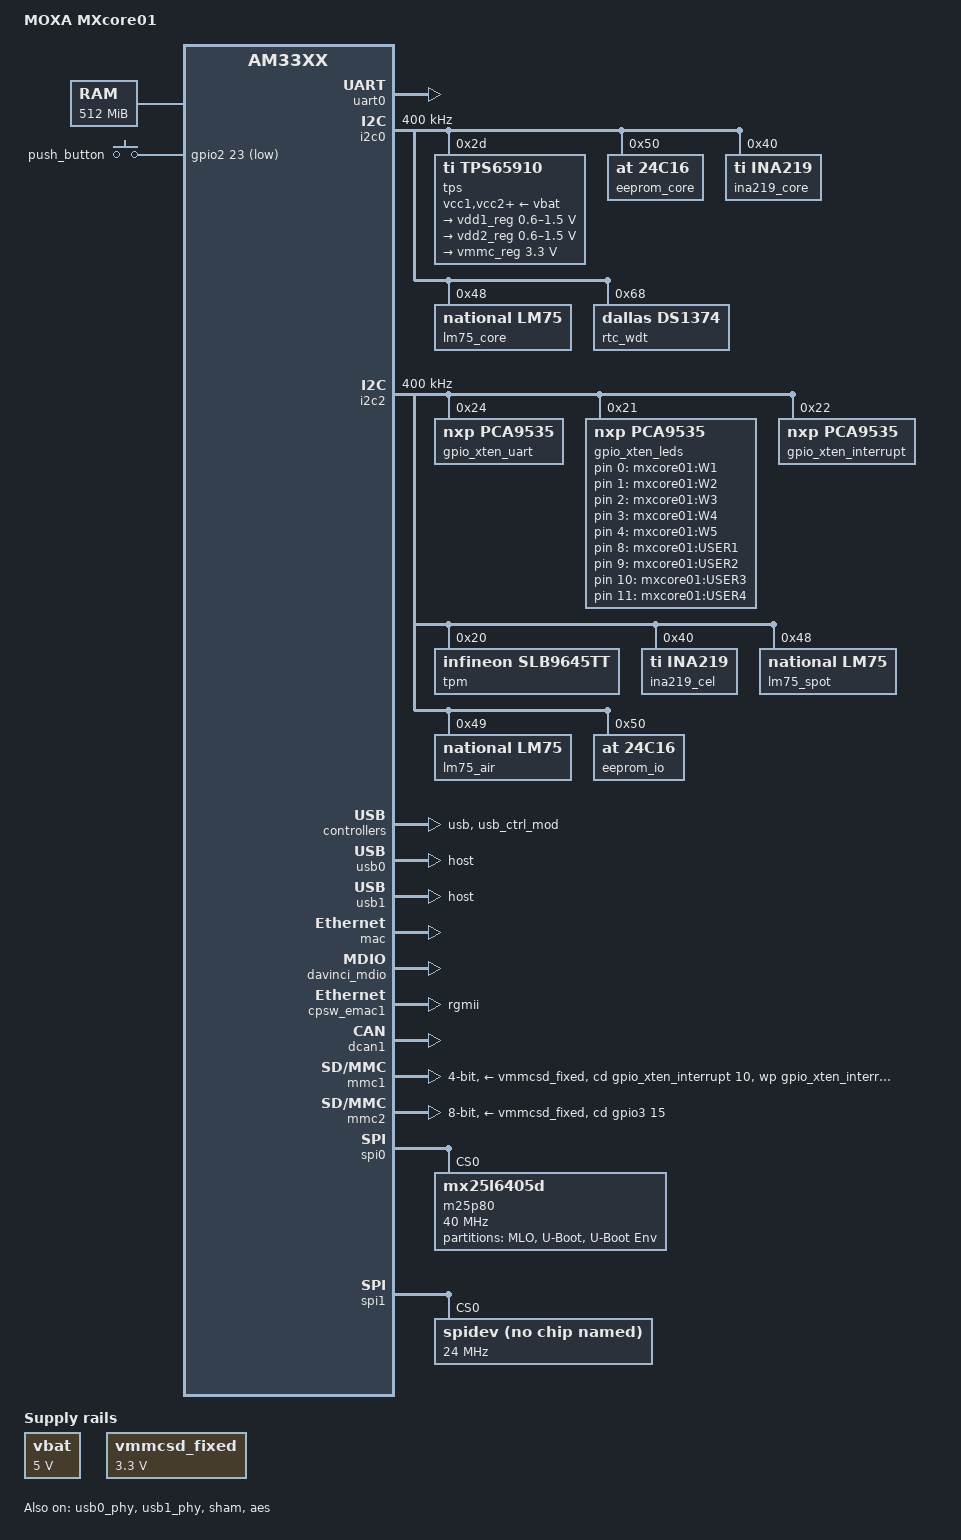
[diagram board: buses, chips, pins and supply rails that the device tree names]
/*
 * Copyright (C) 2015 MOXA Inc. - http://www.moxa.com/
 *
 * This program is free software; you can redistribute it and/or modify
 * it under the terms of the GNU General Public License version 2 as
 * published by the Free Software Foundation.
 */

/dts-v1/;

#include "am33xx.dtsi"
#include <dt-bindings/pwm/pwm.h>
#include <dt-bindings/interrupt-controller/irq.h>

/ {
	model = "MOXA MXcore01";
	compatible = "ti,moxa-mxcore01", "ti,am33xx";

	cpus {
		cpu@0 {
			cpu0-supply = <&vdd1_reg>;
		};
	};

	memory {
		device_type = "memory";
		reg = <0x80000000 0x20000000>; /* 512 MB */
	};

	vbat: fixedregulator@0 {
		compatible = "regulator-fixed";
		regulator-name = "vbat";
		regulator-min-microvolt = <5000000>;
		regulator-max-microvolt = <5000000>;
		regulator-boot-on;
	};

	/* Power supply provides a fixed 3.3V @3A */
	vmmcsd_fixed: fixedregulator@1 {
	      compatible = "regulator-fixed";
	      regulator-name = "vmmcsd_fixed";
	      regulator-min-microvolt = <3300000>;
	      regulator-max-microvolt = <3300000>;
	      regulator-boot-on;
	};
	
	leds {
		compatible = "gpio-leds";
		led@1 {
			label = "mxcore01:W1";
			gpios = <&gpio_xten_leds 0 0>;
			default-state = "off";
		};

		led@2 {
			label = "mxcore01:W2";
			gpios = <&gpio_xten_leds 1 0>;
			default-state = "off";
		};

		led@3 {
			label = "mxcore01:W3";
			gpios = <&gpio_xten_leds 2 0>;
			default-state = "off";
		};

		led@4 {
			label = "mxcore01:W4";
			gpios = <&gpio_xten_leds 3 0>;
			default-state = "off";
		};
		led@5 {
			label = "mxcore01:W5";
			gpios = <&gpio_xten_leds 4 0>;
			default-state = "off";
		};
		led@6 {
			label = "mxcore01:USER1";
			gpios = <&gpio_xten_leds 8 0>;
			default-state = "off";
		};
		led@7 {
			label = "mxcore01:USER2";
			gpios = <&gpio_xten_leds 9 0>;
			default-state = "off";
		};
		led@8 {
			label = "mxcore01:USER3";
			gpios = <&gpio_xten_leds 10 0>;
			default-state = "off";
		};
		led@9 {
			label = "mxcore01:USER4";
			gpios = <&gpio_xten_leds 11 0>;
			default-state = "off";
		};
	};

	buttons: push_button {
		compatible = "gpio-keys";
	};
};

&am33xx_pinmux {
	pinctrl-names = "default";
	
	push_button_pins: pinmux_push_button {
		pinctrl-single,pins = <
			0x0e4 (PIN_INPUT_PULLUP | MUX_MODE7)  /* lcd_hsync.gpio2_23 */
		>;
	};

	i2c0_pins: pinmux_i2c0_pins {
		pinctrl-single,pins = <
			0x188 (PIN_INPUT_PULLUP | MUX_MODE0)	/* i2c0_sda.i2c0_sda */
			0x18c (PIN_INPUT_PULLUP | MUX_MODE0)	/* i2c0_scl.i2c0_scl */
		>;
	};

	i2c2_pins: pinmux_i2c2_pins {
		pinctrl-single,pins = <
			0x178 (PIN_INPUT_PULLUP | MUX_MODE3)	/* uart1_ctsn.i2c2_sda */
			0x17c (PIN_INPUT_PULLUP | MUX_MODE3)	/* uart1_rtsn.i2c2_scl */
		>;
	};

	uart0_pins: pinmux_uart0_pins {
		pinctrl-single,pins = <
			0x170 (PIN_INPUT_PULLUP | MUX_MODE0)	/* uart0_rxd.uart0_rxd */
			0x174 (PIN_OUTPUT_PULLDOWN | MUX_MODE0)		/* uart0_txd.uart0_txd */
		>;
	};

	dcan1_default: dcan1_default_pins {
		pinctrl-single,pins = <
			0x168 (PIN_OUTPUT_PULLDOWN | MUX_MODE2) /*  */
			0x16c (PIN_INPUT_PULLUP | MUX_MODE2) 	/*  */
		>;
	};	

	tps_pins: pinmux_tps_pins {
		pinctrl-single,pins = <
			0x1a4 (PIN_INPUT | MUX_MODE7) /* MCASP0_FSR.gpio3_19 */
		>;
	};

	cpsw_default: cpsw_default {
		pinctrl-single,pins = <
			/* slave 1 */
			0x108 (PIN_INPUT_PULLUP | MUX_MODE0) 	/* mii1_col.gmii1_col */
			0x10c (PIN_INPUT_PULLUP | MUX_MODE0)    /* mii1_crs.gmii1_col */
			0x110 (PIN_INPUT_PULLUP | MUX_MODE0) 	/* mii1_rx_er.gmii1_rxd0 */
			0x114 (PIN_OUTPUT_PULLDOWN | MUX_MODE0) /*  */
			0x118 (PIN_INPUT_PULLUP | MUX_MODE0) 	/*  */
			0x11c (PIN_OUTPUT_PULLDOWN | MUX_MODE0) /*  */
			0x120 (PIN_OUTPUT_PULLDOWN | MUX_MODE0) /*  */
			0x124 (PIN_OUTPUT_PULLDOWN | MUX_MODE0) /*  */
			0x128 (PIN_OUTPUT_PULLDOWN | MUX_MODE0) /*  */
			0x12c (PIN_INPUT_PULLUP | MUX_MODE0)    /*  */
			0x130 (PIN_INPUT_PULLUP | MUX_MODE0)    /*  */
			0x134 (PIN_INPUT_PULLUP | MUX_MODE0)    /*  */
			0x138 (PIN_INPUT_PULLUP | MUX_MODE0)    /*  */
			0x13c (PIN_INPUT_PULLUP | MUX_MODE0)    /*  */
			0x140 (PIN_INPUT_PULLUP | MUX_MODE0)    /*  */
			0x144 (PIN_OUTPUT_PULLDOWN | MUX_MODE0) /*  */
			
			/* slave 2 */
			0x040 (PIN_OUTPUT_PULLDOWN | MUX_MODE2) /* gpmc_a0.rgmii2_tctl */
			0x044 (PIN_INPUT_PULLUP | MUX_MODE2)    /* gpmc_a1.rgmii2_rctl */
			0x048 (PIN_OUTPUT_PULLDOWN | MUX_MODE2) /* gpmc_a2.rgmii2_td3 */
			0x04c (PIN_OUTPUT_PULLDOWN | MUX_MODE2) /* gpmc_a3.rgmii2_td2 */
			0x050 (PIN_OUTPUT_PULLDOWN | MUX_MODE2) /* gpmc_a4.rgmii2_td1 */
			0x054 (PIN_OUTPUT_PULLDOWN | MUX_MODE2) /* gpmc_a5.rgmii2_td0 */
			0x058 (PIN_INPUT_PULLUP | MUX_MODE2)    /* gpmc_a6.rgmii2_tclk */
			0x05c (PIN_INPUT_PULLUP | MUX_MODE2)    /* gpmc_a7.rgmii2_rclk */
			0x060 (PIN_INPUT_PULLUP | MUX_MODE2)    /* gpmc_a8.rgmii2_rd3 */
			0x064 (PIN_INPUT_PULLUP | MUX_MODE2)    /* gpmc_a9.rgmii2_rd2 */
			0x068 (PIN_INPUT_PULLUP | MUX_MODE2)    /* gpmc_a10.rgmii2_rd1 */
			0x06c (PIN_INPUT_PULLUP | MUX_MODE2)    /* gpmc_a11.rgmii2_rd0 */
		>;
	};
	
	davinci_mdio_default: davinci_mdio_default {
		pinctrl-single,pins = <
			/* MDIO */
			0x148 (PIN_INPUT_PULLUP | SLEWCTRL_FAST | MUX_MODE0)	/* mdio_data.mdio_data */
			0x14c (PIN_OUTPUT_PULLUP | MUX_MODE0)			/* mdio_clk.mdio_clk */
		>;
	};

	mmc0_pins_default: pinmux_mmc0_pins {
		pinctrl-single,pins = <
			0xf0 (PIN_INPUT_PULLUP | MUX_MODE0)	/* mmc0_dat3 */
			0xf4 (PIN_INPUT_PULLUP | MUX_MODE0)	/* mmc0_dat2 */
			0xf8 (PIN_INPUT_PULLUP | MUX_MODE0)	/* mmc0_dat1 */
			0xfc (PIN_INPUT_PULLUP | MUX_MODE0)	/* mmc0_dat0 */
			0x100 (PIN_INPUT_PULLUP | MUX_MODE0)	/* mmc0_clk */
			0x104 (PIN_INPUT_PULLUP | MUX_MODE0)	/* mmc0_cmd */
		>;
	};

	mmc1_pins_default: pinmux_mmc1_pins {
		pinctrl-single,pins = <
			0x80 (PIN_INPUT_PULLUP | MUX_MODE2) /* gpmc_csn1.mmc1_clk */
			0x84 (PIN_INPUT_PULLUP | MUX_MODE2) /* gpmc_csn2.mmc1_cmd */
			0x00 (PIN_INPUT_PULLUP | MUX_MODE1) /* gpmc_ad0.mmc1_dat0 */
			0x04 (PIN_INPUT_PULLUP | MUX_MODE1) /* gpmc_ad1.mmc1_dat1 */
			0x08 (PIN_INPUT_PULLUP | MUX_MODE1) /* gpmc_ad2.mmc1_dat2 */
			0x0c (PIN_INPUT_PULLUP | MUX_MODE1) /* gpmc_ad3.mmc1_dat3 */
		>;
	};

	spi0_pins: pinmux_spi0 {
		pinctrl-single,pins = <
			0x150 (PIN_INPUT_PULLUP | MUX_MODE0) /* spi0_sclk.spi0_sclk */
			0x15C (PIN_INPUT_PULLUP | MUX_MODE0) /* spi0_cs0.spi0_cs0 */
			0x154 (PIN_INPUT_PULLUP | MUX_MODE0) /* spi0_d0.spi0_d0 */
			0x158 (PIN_INPUT_PULLUP | MUX_MODE0) /* spi0_d1.spi0_d1 */
		>;
	};

	spi1_pins: pinmux_spi1 {
		pinctrl-single,pins = <
	                0x190 (PIN_INPUT_PULLUP | MUX_MODE3) /* mcasp0_aclkx.spi1_sclk */
	                0x194 (PIN_INPUT_PULLUP | MUX_MODE3) /* mcasp0_fsx.spi1_d0 */
	                0x198 (PIN_INPUT_PULLUP | MUX_MODE3) /* mcasp0_axr0.spi1_d1 */
	                0x19c (PIN_INPUT_PULLUP | MUX_MODE3) /* mcasp0_ahclkr.spi1_cs0 */
		>;
	};
};

&uart0 {
	pinctrl-names = "default";
	pinctrl-0 = <&uart0_pins>;
	status = "okay";
};

&i2c0 {
	pinctrl-names = "default";
	pinctrl-0 = <&i2c0_pins>;

	status = "okay";
	clock-frequency = <400000>;

	tps: tps@2d {
		compatible = "ti,tps65910";
		reg = <0x2d>;
	};

	eeprom_core: eeprom_core@50 {
		compatible = "at,24c16";
		pagesize = <16>;
		reg = <0x50>;
	};

	ina219_core: ina219_core@40 {
		compatible = "ti,ina219";
		reg = <0x40>;
		shunt-resistor = <200000>;
	};
	
	lm75_core: lm75_core@48 {
		compatible = "national,lm75";
		reg = <0x48>;
	};

	rtc_wdt: rtc_wdt@68 {
		compatible = "dallas,ds1374";
		reg = <0x68>;
	};
};

&i2c2 {
	pinctrl-names = "default";
	pinctrl-0 = <&i2c2_pins>;

	status = "okay";
	clock-frequency = <400000>;
	gpio_xten_uart: gpio_xten@24 {
		compatible = "nxp,pca9535";
		gpio-controller;
		#gpio-cells = <2>;
		reg = <0x24>;
	};

	gpio_xten_leds: gpio_xten@21 {
		compatible = "nxp,pca9535";
		gpio-controller;
		#gpio-cells = <2>;
		reg = <0x21>;
	};

	gpio_xten_interrupt: gpio_xten@22 {
		compatible = "nxp,pca9535";
		gpio-controller;
		#gpio-cells = <2>;
		reg = <0x22>;
	};
	
	tpm: tpm@20 {
		compatible = "infineon,slb9645tt";
		reg = <0x20>;
	};

	ina219_cel: ina219_cel@40 {
		compatible = "ti,ina219";
		reg = <0x40>;
		shunt-resistor = <200000>;
	};
	
	lm75_spot: lm75_spot@48 {
		compatible = "national,lm75";
		reg = <0x48>;
	};

	lm75_air: lm75_air@49 {
		compatible = "national,lm75";
		reg = <0x49>;
	};
	
	eeprom_io: eeprom_io@50 {
		compatible = "at,24c16";
		pagesize = <16>;
		reg = <0x50>;
	};
};

&usb {
	status = "okay";
};

&usb_ctrl_mod {
	status = "okay";
};

&usb0_phy {
	status = "okay";
};

&usb1_phy {
	status = "okay";
};

&usb0 {
	status = "okay";
	dr_mode = "host";
};

&usb1 {
	status = "okay";
	dr_mode = "host";
};

&cppi41dma  {
	status = "okay";
};


#include "tps65910.dtsi"

&tps {
	pinctrl-names = "default";
	pinctrl-0 = <&tps_pins>;

	ti,en-ck32k-xtal;

	vcc1-supply = <&vbat>;
	vcc2-supply = <&vbat>;
	vcc3-supply = <&vbat>;
	vcc4-supply = <&vbat>;
	vcc5-supply = <&vbat>;
	vcc6-supply = <&vbat>;
	vcc7-supply = <&vbat>;
	vccio-supply = <&vbat>;

	regulators {
		vrtc_reg: regulator@0 {
			regulator-always-on;
		};

		vio_reg: regulator@1 {
			regulator-always-on;
		};

		vdd1_reg: regulator@2 {
			/* VDD_MPU voltage limits 0.95V - 1.26V with +/-4% tolerance */
			regulator-name = "vdd_mpu";
			regulator-min-microvolt = <600000>;
			regulator-max-microvolt = <1500000>;
			regulator-boot-on;
			regulator-always-on;
		};

		vdd2_reg: regulator@3 {
			/* VDD_CORE voltage limits 0.95V - 1.1V with +/-4% tolerance */
			regulator-name = "vdd_core";
			regulator-min-microvolt = <600000>;
			regulator-max-microvolt = <1500000>;
			regulator-boot-on;
			regulator-always-on;
		};

		vdd3_reg: regulator@4 {
			regulator-always-on;
		};

		vdig1_reg: regulator@5 {
			regulator-always-on;
		};

		vdig2_reg: regulator@6 {
			regulator-always-on;
		};

		vpll_reg: regulator@7 {
			regulator-always-on;
		};

		vdac_reg: regulator@8 {
			regulator-always-on;
		};

		vaux1_reg: regulator@9 {
			regulator-always-on;
		};

		vaux2_reg: regulator@10 {
			regulator-always-on;
		};

		vaux33_reg: regulator@11 {
			regulator-always-on;
		};

		vmmc_reg: regulator@12 {
			compatible = "regulator-fixed";
			regulator-name = "vmmc_reg";
			regulator-min-microvolt = <3300000>;
			regulator-max-microvolt = <3300000>;
			regulator-always-on;
		};
	};
};

&mac {
	pinctrl-names = "default";
	pinctrl-0 = <&cpsw_default>;
	status = "okay";
};

&davinci_mdio {
	pinctrl-names = "default";
	pinctrl-0 = <&davinci_mdio_default>;
	status = "okay";
};

&cpsw_emac0 {
	status = "disable";
};

&cpsw_emac1 {
	status = "okay";
	phy_id = <&davinci_mdio>, <0x1f>;
	phy-mode = "rgmii";
};

&sham {
	status = "okay";
};

&aes {
	status = "okay";
};

&gpio0 {
	ti,no-reset-on-init;
};

&dcan1 {
	pinctrl-names = "default";
	pinctrl-0 = <&dcan1_default>;
	status = "okay";
};

&mmc1 {
	pinctrl-names = "default";
	vmmc-supply = <&vmmcsd_fixed>;
	bus-width = <4>;
	pinctrl-0 = <&mmc0_pins_default>;
	cd-gpios = <&gpio_xten_interrupt 10 GPIO_ACTIVE_HIGH>;
	wp-gpios = <&gpio_xten_interrupt 11 GPIO_ACTIVE_HIGH>;
	status = "okay";
};

&mmc2 {
	pinctrl-names = "default";
	vmmc-supply = <&vmmcsd_fixed>;
	bus-width = <8>;
	pinctrl-0 = <&mmc1_pins_default>;
	cd-gpios = <&gpio3 15 GPIO_ACTIVE_HIGH>;
	status = "okay";
};

/* SPI Busses */
&spi0 {
	status = "okay";
	pinctrl-names = "default";
	pinctrl-0 = <&spi0_pins>;

	m25p80@0 {
		compatible = "mx25l6405d";
		spi-max-frequency = <40000000>;

		reg = <0>;
		spi-cpol;
		spi-cpha;
		#address-cells = <1>;
		#size-cells = <1>;

		/* reg : The partition's offset and size within the mtd bank. */
		partitions@0 {
			label = "MLO";
			reg = <0x0 0x80000>;
		};

		partitions@1 {
			label = "U-Boot";
			reg = <0x80000 0x100000>;
		};

		partitions@2 {
			label = "U-Boot Env";
			reg = <0x180000 0x20000>;
		};
       };

};

&spi1 {
	status = "okay";
	pinctrl-names = "default";
	pinctrl-0 = <&spi1_pins>;
	#address-cells = <1>;
	#size-cells = <0>;

	spidev@1 {
		spi-max-frequency = <24000000>;
                reg = <0>;
                compatible = "linux,spidev";
        };
};
	
&buttons {
	pinctrl-names = "default";
	pinctrl-0 = <&push_button_pins>;
	#address-cells = <1>;
	#size-cells = <0>;

	button@0 {
		label = "push_button";
		linux,code = <0x100>;
		gpios = <&gpio2 23 GPIO_ACTIVE_LOW>;
	};
};


